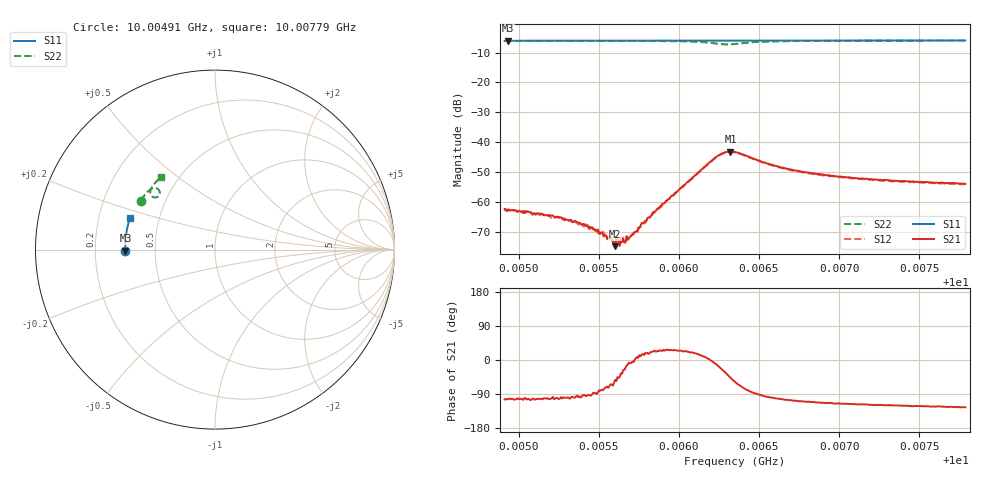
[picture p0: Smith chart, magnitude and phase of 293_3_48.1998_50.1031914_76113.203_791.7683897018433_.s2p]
#  HZ  S  RI  R  50.00
! Rohde & Schwarz Vector Network Analyzer
! Rohde-Schwarz,ZNB20-2Port,1311601062101988,3.16
! Created: UTC 3/20/2024, 11:49:10 AM
! freq[Hz]  re:S11  im:S11  re:S21  im:S21  re:S12  im:S12  re:S22  im:S22
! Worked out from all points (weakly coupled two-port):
!   401 points, 10.00491 GHz to 10.00779 GHz, reference 50 ohm
!   highest |S21| = -43.14 dB at 10.00632 GHz (marker M1); lowest = -74.8 dB at 10.0056 GHz (marker M2)
!   lowest |S11| = -6.0 dB at 10.00493 GHz (marker M3), VSWR 3.00, Z = 16.7 - j0.28 ohm
!   |S11| at or under -10 dB: nowhere
!   |S22| runs from -7.3 to -6.0 dB; largest |S21 - S12| = 0.00043
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1.0004912e10  -0.4994 -0.00785  -0.000185 -0.000735  -0.000114 -0.000695  -0.4122 0.2728
1.0004934e10  -0.4993 -0.0063  -0.000171 -0.000729  -0.000137 -0.0007  -0.4115 0.274
1.0005178e10  -0.5 0.0097  -0.000109 -0.000586  -0.000119 -0.000603  -0.4024 0.2886
1.0005394e10  -0.4999 0.0235  -4.87e-05 -0.000405  -2.94e-05 -0.000416  -0.3935 0.3014
1.0005516e10  -0.4997 0.0314  6.23e-05 -0.000302  7.87e-05 -0.000274  -0.3878 0.3088
1.0005552e10  -0.4995 0.0337  8.21e-05 -0.000228  9.46e-05 -0.000217  -0.3862 0.3112
1.0005588e10  -0.4995 0.036  8.38e-05 -0.000202  0.000103 -0.000182  -0.3842 0.3132
1.0005603e10  -0.4993 0.0371  0.000111 -0.000143  0.000129 -0.000187  -0.3835 0.3142
1.0005617e10  -0.4994 0.038  0.000163 -0.000164  0.000145 -0.000179  -0.3828 0.3151
1.0005624e10  -0.4994 0.0384  0.000151 -0.000165  0.000145 -0.000143  -0.3825 0.3155
1.0005646e10  -0.4994 0.0398  0.000171 -0.000124  0.000216 -0.000112  -0.3811 0.3169
1.0005674e10  -0.4991 0.0417  0.000259 -6.68e-05  0.000249 -8.02e-05  -0.3795 0.3188
1.0005732e10  -0.4989 0.0455  0.000318 2.68e-05  0.000321 2.16e-05  -0.3764 0.3224
1.0005876e10  -0.4984 0.0547  0.000734 0.000317  0.000687 0.000357  -0.3659 0.3316
1.0006214e10  -0.4957 0.0766  0.0051 -0.000478  0.00503 -0.000198  -0.3122 0.3307
1.0006271e10  -0.4951 0.08  0.00589 -0.00283  0.00587 -0.00249  -0.3083 0.3094
1.0006322e10  -0.4947 0.0828  0.00477 -0.00507  0.00495 -0.00472  -0.3215 0.293
1.000635e10  -0.4946 0.0848  0.00366 -0.0058  0.00387 -0.00549  -0.3325 0.2902
1.0006595e10  -0.4926 0.1003  -0.00074 -0.00398  -0.000568 -0.00395  -0.3597 0.3286
1.0006832e10  -0.4899 0.1155  -0.00109 -0.00282  -0.000926 -0.00281  -0.3495 0.3516
1.0007314e10  -0.4827 0.1457  -0.00112 -0.00202  -0.00101 -0.002  -0.3256 0.3804
1.0007788e10  -0.4739 0.1749  -0.00114 -0.00165  -0.00104 -0.00167  -0.3015 0.4029
